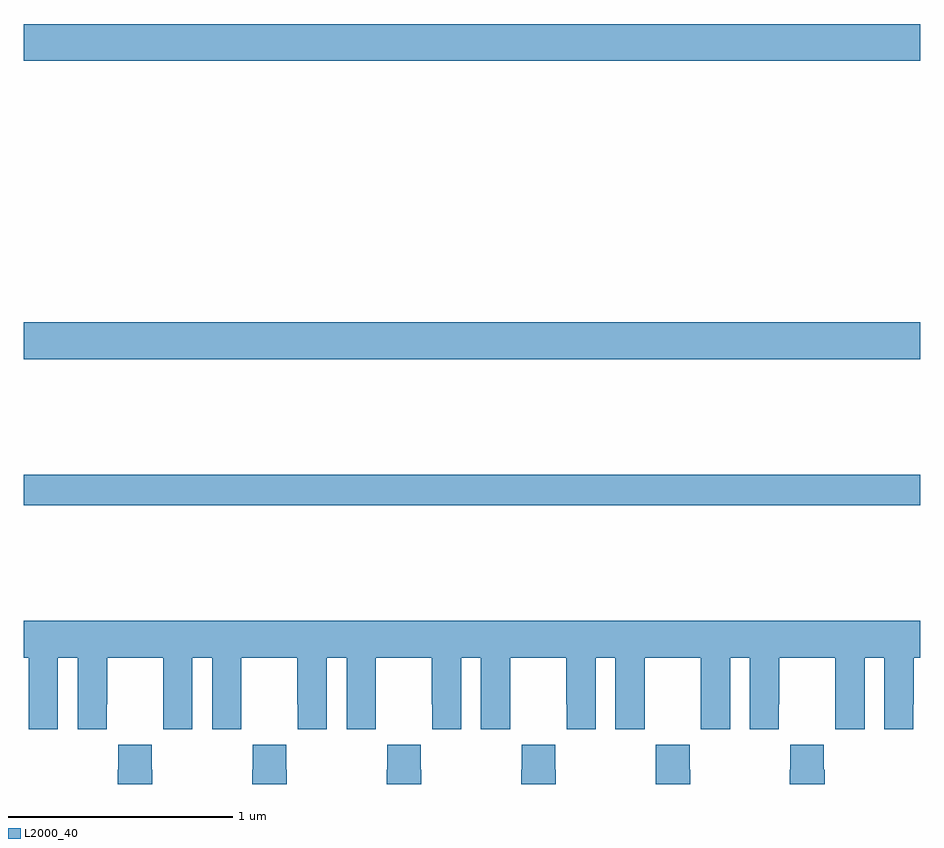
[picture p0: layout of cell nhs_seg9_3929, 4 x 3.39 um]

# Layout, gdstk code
import gdstk
lib = gdstk.Library(unit=1e-6, precision=1e-09)
def R(c, l, rs):  # rectangles x0, y0, x1, y1
    for r in rs: c.add(gdstk.rectangle(r[:2], r[2:], *l))
def P(c, l, *ps):  # polygons
    for p in ps: c.add(gdstk.Polygon(p, *l))
L2000_40 = (2000, 40)

nhs_seg9_3929 = lib.new_cell('nhs_seg9_3929')
R(nhs_seg9_3929, L2000_40, [(335,1219.744,339,1219.88), (335,1220.396,339,1220.56), (335,1221.728,339,1221.892)])
P(nhs_seg9_3929, L2000_40, [(335,1219.064),(335.021,1219.064),(335.021,1218.856),(335.022,1218.856),(335.022,1218.744),(335.152,1218.744),(335.152,1219.064),(335.24,1219.064),(335.24,1218.744),(335.37,1218.744),(335.37,1218.856),(335.371,1218.856),(335.371,1219.064),(335.621,1219.064),(335.621,1218.856),(335.622,1218.856),(335.622,1218.744),(335.752,1218.744),(335.752,1219.064),(335.84,1219.064),(335.84,1218.744),(335.97,1218.744),(335.97,1218.856),(335.971,1218.856),(335.971,1219.064),(336.221,1219.064),(336.221,1218.856),(336.222,1218.856),(336.222,1218.744),(336.352,1218.744),(336.352,1219.064),(336.44,1219.064),(336.44,1218.744),(336.57,1218.744),(336.57,1218.856),(336.571,1218.856),(336.571,1219.064),(336.821,1219.064),(336.821,1218.856),(336.822,1218.856),(336.822,1218.744),(336.952,1218.744),(336.952,1219.064),(337.04,1219.064),(337.04,1218.744),(337.17,1218.744),(337.17,1218.856),(337.171,1218.856),(337.171,1219.064),(337.421,1219.064),(337.421,1218.856),(337.422,1218.856),(337.422,1218.744),(337.552,1218.744),(337.552,1219.064),(337.64,1219.064),(337.64,1218.744),(337.77,1218.744),(337.77,1218.856),(337.771,1218.856),(337.771,1219.064),(338.021,1219.064),(338.021,1218.856),(338.022,1218.856),(338.022,1218.744),(338.152,1218.744),(338.152,1219.064),(338.24,1219.064),(338.24,1218.744),(338.37,1218.744),(338.37,1218.856),(338.371,1218.856),(338.371,1219.064),(338.621,1219.064),(338.621,1218.856),(338.622,1218.856),(338.622,1218.744),(338.752,1218.744),(338.752,1219.064),(338.84,1219.064),(338.84,1218.744),(338.97,1218.744),(338.97,1218.856),(338.971,1218.856),(338.971,1219.064),(339,1219.064),(339,1219.228),(335,1219.228)],
  [(335.574,1218.563),(335.571,1218.563),(335.571,1218.676),(335.421,1218.676),(335.421,1218.563),(335.419,1218.563),(335.419,1218.5),(335.574,1218.5)],
  [(336.774,1218.563),(336.771,1218.563),(336.771,1218.676),(336.621,1218.676),(336.621,1218.563),(336.619,1218.563),(336.619,1218.5),(336.774,1218.5)],
  [(337.374,1218.563),(337.371,1218.563),(337.371,1218.676),(337.221,1218.676),(337.221,1218.563),(337.219,1218.563),(337.219,1218.5),(337.374,1218.5)],
  [(337.974,1218.563),(337.971,1218.563),(337.971,1218.676),(337.821,1218.676),(337.821,1218.563),(337.819,1218.563),(337.819,1218.5),(337.974,1218.5)],
  [(338.574,1218.563),(338.571,1218.563),(338.571,1218.676),(338.421,1218.676),(338.421,1218.563),(338.419,1218.563),(338.419,1218.5),(338.574,1218.5)],
  [(336.021,1218.676),(336.021,1218.563),(336.019,1218.563),(336.019,1218.5),(336.174,1218.5),(336.174,1218.563),(336.171,1218.563),(336.171,1218.676)])

lib.write_gds('nhs_seg9_3929.gds')
